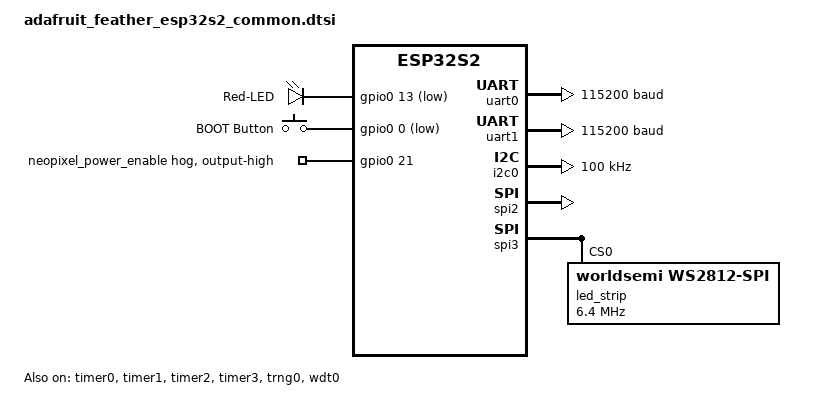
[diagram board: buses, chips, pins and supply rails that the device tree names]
/*
 * Copyright (c) 2025 Philipp Steiner <philipp.steiner@gmail.com>
 *
 * SPDX-License-Identifier: Apache-2.0
 */

/dts-v1/;

#include <espressif/esp32s2/esp32s2.dtsi>
#include <espressif/esp32s2/esp32s2_wroom.dtsi>
#include "adafruit_feather_esp32s2-pinctrl.dtsi"
#include <espressif/partitions_0x1000_default.dtsi>
#include <zephyr/dt-bindings/input/input-event-codes.h>
#include <dt-bindings/led/led.h>
#include <dt-bindings/led/worldsemi_ws2812c.h>
#include <zephyr/dt-bindings/mipi_dbi/mipi_dbi.h>

/ {
	compatible = "espressif,esp32s2";

	chosen {
		zephyr,sram = &sram1;
		/*
		 * uart1 is used as the default uart for zephyr,console and zephyr,shell,
		 * because USB-OTG is until now not supported and USB-CDC is not available
		 * for ESP32-S2.
		 * See issue #29394 - ESP32 development overview
		 * To use uart1 a FTDI-USB-RS232 or similar needs to be connected to the RX/TX pins.
		 * See feather_connector.dtsi
		 */
		zephyr,console = &uart1;
		zephyr,shell-uart = &uart1;
		zephyr,flash = &flash0;
		zephyr,code-partition = &slot0_partition;
	};

	aliases {
		led0 = &led0;
		i2c-0 = &i2c0;
		sw0 = &user_button;
		led-strip = &led_strip;
		watchdog0 = &wdt0;
	};

	leds {
		compatible = "gpio-leds";
		status = "okay";

		led0: led_0 {
			label = "Red-LED";
			gpios = <&gpio0 13 GPIO_ACTIVE_LOW>;
		};
	};

	gpio_keys {
		compatible = "gpio-keys";
		status = "okay";

		user_button: user_button {
			label = "BOOT Button";
			gpios = <&gpio0 0 (GPIO_PULL_UP | GPIO_ACTIVE_LOW)>;
			zephyr,code = <INPUT_KEY_0>;
		};
	};
};

&uart0 {
	status = "okay";
	current-speed = <115200>;
	pinctrl-0 = <&uart0_default>;
	pinctrl-names = "default";
};

&uart1 {
	status = "okay";
	current-speed = <115200>;
	pinctrl-0 = <&uart1_default>;
	pinctrl-names = "default";
};

&gpio0 {
	status = "okay";

	neopixel_power_enable {
		gpio-hog;
		gpios = <21 GPIO_ACTIVE_HIGH>;
		output-high;
	};
};

&gpio1 {
	status = "okay";
};

&timer0 {
	status = "okay";
};

&timer1 {
	status = "okay";
};

&timer2 {
	status = "okay";
};

&timer3 {
	status = "okay";
};

&i2c0 {
	status = "okay";
	clock-frequency = <I2C_BITRATE_STANDARD>;
	pinctrl-0 = <&i2c0_default>;
	pinctrl-names = "default";
};

&trng0 {
	status = "okay";
};

&spi2 {
	#address-cells = <1>;
	#size-cells = <0>;
	status = "okay";
	pinctrl-0 = <&spim2_default>;
	pinctrl-names = "default";
};

&spi3 {
	#address-cells = <1>;
	#size-cells = <0>;
	status = "okay";
	pinctrl-0 = <&spim3_ws2812_led>;
	pinctrl-names = "default";

	line-idle-low;

	led_strip: ws2812@0 {
		compatible = "worldsemi,ws2812-spi";

		/* WS2812 */
		reg = <0>;
		spi-max-frequency = <6400000>;
		chain-length = <1>;
		spi-cpha;
		spi-one-frame = <WS2812C_ONE_FRAME>; /* 11110000: 625ns high and 625ns low */
		spi-zero-frame = <WS2812C_ZERO_FRAME>; /* 11000000: 312.5ns high and 937.5ns low */
		color-mapping = <LED_COLOR_ID_GREEN>,
				<LED_COLOR_ID_RED>,
				<LED_COLOR_ID_BLUE>;
	};
};

&twai {
	pinctrl-0 = <&twai_default>;
	pinctrl-names = "default";
};

&wdt0 {
	status = "okay";
};
